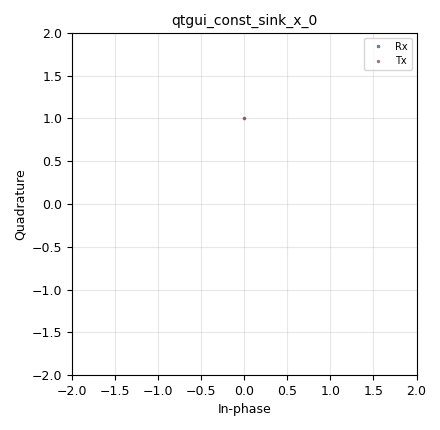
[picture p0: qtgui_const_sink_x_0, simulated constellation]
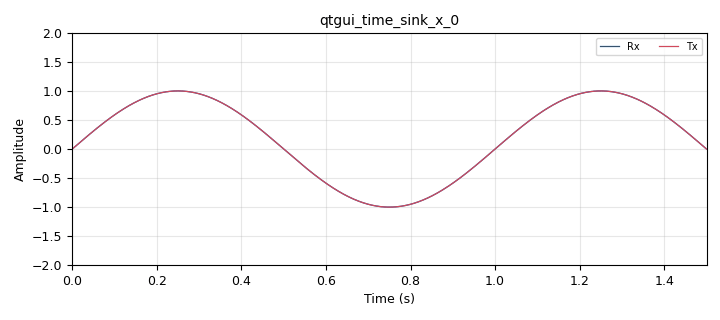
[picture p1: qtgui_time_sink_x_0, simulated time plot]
options:
  parameters:
    author: Marcelo Doallo
    generate_options: qt_gui
    id: Channel_Model_Test
    output_language: python
    title: Channel Model Test
  states: {}

blocks:
- name: Epsilon
  id: variable_qtgui_range
  parameters:
    gui_hint: 0,2,1,1
    label: 'Epsilon:'
    start: '.99'
    step: '.001'
    stop: '1.01'
    value: '1'
    widget: counter
  states: {}
- name: freq
  id: variable_qtgui_range
  parameters:
    gui_hint: 0,1,1,1
    label: 'Frequency Offset:'
    start: '-.01'
    step: '.00001'
    stop: '.01'
    value: '0'
    widget: counter
  states: {}
- name: noise
  id: variable_qtgui_range
  parameters:
    gui_hint: 0,0,1,1
    label: 'Noise voltage:'
    start: '0'
    step: '.05'
    stop: '1'
    value: '0'
    widget: counter
  states: {}
- name: samp_rate
  id: variable
  parameters:
    value: '32000'
  states: {}
- name: analog_sig_source_x_0
  id: analog_sig_source_x
  parameters:
    amp: '1'
    freq: '1'
    offset: '0'
    phase: '0'
    samp_rate: samp_rate
    type: complex
    waveform: analog.GR_COS_WAVE
  states: {}
- name: blocks_complex_to_real_0
  id: blocks_complex_to_real
  parameters: {}
  states: {}
- name: blocks_complex_to_real_0_0
  id: blocks_complex_to_real
  parameters: {}
  states: {}
- name: blocks_throttle2_0
  id: blocks_throttle2
  parameters:
    samples_per_second: samp_rate
    type: complex
  states: {}
- name: channels_channel_model_0
  id: channels_channel_model
  parameters:
    epsilon: Epsilon
    freq_offset: freq
    noise_voltage: noise
    seed: '0'
    taps: '1.0'
  states: {}
- name: qtgui_const_sink_x_0
  id: qtgui_const_sink_x
  parameters:
    gui_hint: 1,2,3,2
    label1: Rx
    label2: Tx
    nconnections: '2'
    size: '1'
    type: complex
    update_time: '0.01'
    width1: '2'
  states: {}
- name: qtgui_time_sink_x_0
  id: qtgui_time_sink_x
  parameters:
    gui_hint: 1,0,3,2
    label1: Rx
    label2: Tx
    nconnections: '2'
    size: int(samp_rate*1.5)
    srate: samp_rate
    tr_chan: '1'
    tr_mode: qtgui.TRIG_MODE_AUTO
    type: float
    ymax: '2'
    ymin: '-2'
  states: {}
- name: virtual_sink_0
  id: virtual_sink
  parameters:
    stream_id: Tx
  states: {}
- name: virtual_source_0
  id: virtual_source
  parameters:
    stream_id: Tx
  states: {}

connections:
- [analog_sig_source_x_0, '0', blocks_complex_to_real_0_0, '0']
- [analog_sig_source_x_0, '0', blocks_throttle2_0, '0']
- [analog_sig_source_x_0, '0', channels_channel_model_0, '0']
- [analog_sig_source_x_0, '0', virtual_sink_0, '0']
- [blocks_complex_to_real_0, '0', qtgui_time_sink_x_0, '0']
- [blocks_complex_to_real_0_0, '0', qtgui_time_sink_x_0, '1']
- [channels_channel_model_0, '0', blocks_complex_to_real_0, '0']
- [channels_channel_model_0, '0', qtgui_const_sink_x_0, '0']
- [virtual_source_0, '0', qtgui_const_sink_x_0, '1']

metadata:
  file_format: 1
  grc_version: 3.10.12.0
